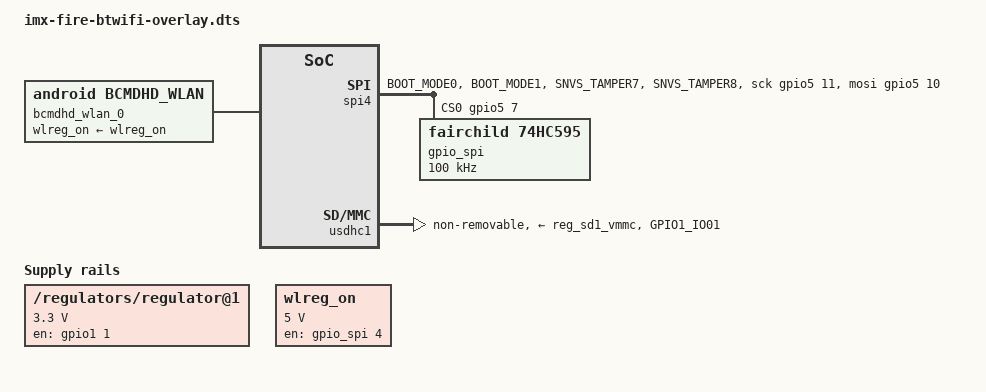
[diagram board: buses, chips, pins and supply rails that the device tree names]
/*
 * Copyright (C) 2019 - All Rights Reserved by 
 * filename : imx-fire-key-overlay.dts
 * brief : Device Tree overlay for EBF6ull key device
 * author : embedfire
 * date : 2019-12-10
 * version : A001
 */
#include "imx6ul-pinfunc.h"
#include "imx6ull-pinfunc-snvs.h"
#include "dt-bindings/input/linux-event-codes.h"
#include "dt-bindings/gpio/gpio.h"

/dts-v1/;
/plugin/;

/{
	fragment@0{
		target = <&iomuxc>;
		__overlay__ {	
            pinctrl_wifi: wifigrp {
                fsl,pins = <
                MX6UL_PAD_GPIO1_IO01__GPIO1_IO01 0x010B1
                >;
            };
		};
	};

    fragment@1{
        target=<&iomuxc_snvs>;
        __overlay__ {
            pinctrl_spi4: spi4grp {
                fsl,pins = <
                    MX6ULL_PAD_BOOT_MODE0__GPIO5_IO10		0x70a1
                    MX6ULL_PAD_BOOT_MODE1__GPIO5_IO11		0x70a1
                    MX6ULL_PAD_SNVS_TAMPER7__GPIO5_IO07		0x70a1
                    MX6ULL_PAD_SNVS_TAMPER8__GPIO5_IO08		0x80000000
                >;
            };
        };
    };

    fragment@2{
        target-path="/";
        __overlay__{
            bcmdhd_wlan_0: bcmdhd_wlan@0 {
                compatible = "android,bcmdhd_wlan";
                wlreg_on-supply = <&wlreg_on>;
            };

            spi4 {
                compatible = "spi-gpio";
                pinctrl-names = "default";
                pinctrl-0 = <&pinctrl_spi4>;
                pinctrl-assert-gpios = <&gpio5 8 GPIO_ACTIVE_LOW>;
                status = "okay";
                gpio-sck = <&gpio5 11 0>;
                gpio-mosi = <&gpio5 10 0>;
                cs-gpios = <&gpio5 7 0>;
                num-chipselects = <1>;
                #address-cells = <1>;
                #size-cells = <0>;

                gpio_spi: gpio_spi@0 {
                    compatible = "fairchild,74hc595";
                    gpio-controller;
                    #gpio-cells = <2>;
                    reg = <0>;
                    registers-number = <1>;
                    registers-default = /bits/ 8 <0x57>;
                    spi-max-frequency = <100000>;
                };
            };
        };
    };

    fragment@3{
        target=<&usdhc1>;
        __overlay__{
            pinctrl-names = "default";
            pinctrl-0 = <&pinctrl_usdhc1 &pinctrl_wifi>;
            
            pinctrl-1 = <&pinctrl_usdhc1_100mhz>;
            pinctrl-2 = <&pinctrl_usdhc1_200mhz>;
            /*cd-gpios = <&gpio1 1 GPIO_ACTIVE_LOW>;*/
            keep-power-in-suspend;
            enable-sdio-wakeup;
            vmmc-supply = <&reg_sd1_vmmc>;
            no-1-8-v;
            non-removable;
            cd-post;
            pm-ignore-notify;
            wifi-host;
            status = "okay";
        };
    };

    fragment@4{
            target-path="/regulators/regulator@1";
            __overlay__{
                compatible = "regulator-fixed";
                regulator-name = "WIFI_3V3";
                regulator-min-microvolt = <3300000>;
                regulator-max-microvolt = <3300000>;
                gpio = <&gpio1 1 GPIO_ACTIVE_HIGH>;
                enable-active-high;
            };
    };

    fragment@5{
        target-path="/regulators";
        __overlay__{
            wlreg_on: fixedregulator@100 {
                compatible = "regulator-fixed";
                regulator-min-microvolt = <5000000>;
                regulator-max-microvolt = <5000000>;
                regulator-name = "wlan-en-gpio";
                gpio = <&gpio_spi 4 0>;
                startup-delay-us = <20000>;
                enable-active-high;
            };
        };
    };



};
